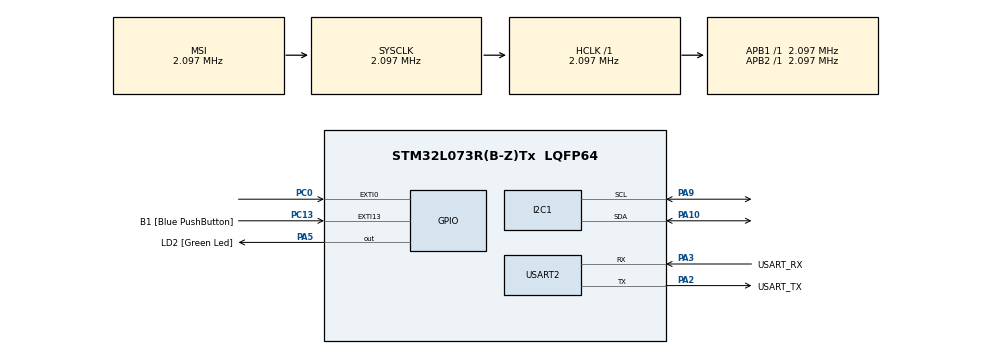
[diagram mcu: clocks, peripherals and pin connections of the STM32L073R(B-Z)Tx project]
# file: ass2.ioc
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I2C1.Timing=0x00000608
Mcu.Family=STM32L0
Mcu.Name=STM32L073R(B-Z)Tx
Mcu.Package=LQFP64
NVIC.EXTI0_1_IRQn=true\:0\:0\:false\:false\:true\:true\:true\:true
PA10.Mode=I2C
PA10.Signal=I2C1_SDA
PA13.GPIO_Label=TMS
PA13.Mode=Serial_Wire
PA13.Signal=SYS_SWDIO
PA14.GPIO_Label=TCK
PA14.Mode=Serial_Wire
PA14.Signal=SYS_SWCLK
PA2.GPIO_Label=USART_TX
PA2.Mode=Asynchronous
PA2.Signal=USART2_TX
PA3.GPIO_Label=USART_RX
PA3.Mode=Asynchronous
PA3.Signal=USART2_RX
PA5.GPIO_Label=LD2 [Green Led]
PA5.Signal=GPIO_Output
PA9.Mode=I2C
PA9.Signal=I2C1_SCL
PC0.GPIO_ModeDefaultEXTI=GPIO_MODE_IT_FALLING
PC0.GPIO_PuPd=GPIO_NOPULL
PC0.Signal=GPXTI0
PC13.GPIO_Label=B1 [Blue PushButton]
PC13.GPIO_ModeDefaultEXTI=GPIO_MODE_IT_FALLING
PC13.Signal=GPXTI13
PC14-OSC32_IN.Mode=LSE-External-Oscillator
PC14-OSC32_IN.Signal=RCC_OSC32_IN
PC15-OSC32_OUT.Mode=LSE-External-Oscillator
PC15-OSC32_OUT.Signal=RCC_OSC32_OUT
PH0-OSC_IN.GPIO_Label=MCO
PH0-OSC_IN.Mode=HSE-External-Clock-Source
PH0-OSC_IN.Signal=RCC_OSC_IN
ProjectManager.HeapSize=0x200
ProjectManager.StackSize=0x400
ProjectManager.TargetToolchain=STM32CubeIDE
RCC.AHBFreq_Value=2097000
RCC.APB1Freq_Value=2097000
RCC.APB1TimFreq_Value=2097000
RCC.APB2Freq_Value=2097000
RCC.APB2TimFreq_Value=2097000
RCC.HSE_VALUE=8000000
RCC.HSI16_VALUE=16000000
RCC.HSI48_VALUE=48000000
RCC.HSI_VALUE=16000000
RCC.MSI_VALUE=2097000
RCC.SYSCLKFreq_VALUE=2097000
RCC.VCOOutputFreq_Value=48000000
USART2.VirtualMode-Asynchronous=VM_ASYNC
board=NUCLEO-L073RZ

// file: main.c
/* USER CODE BEGIN Header */
/**
  ******************************************************************************
  * @file           : main.c
  * @brief          : Main program body
  ******************************************************************************
  * @attention
  *
  * Copyright (c) 2024 STMicroelectronics.
  * All rights reserved.
  *
  * This software is licensed under terms that can be found in the LICENSE file
  * in the root directory of this software component.
  * If no LICENSE file comes with this software, it is provided AS-IS.
  *
  ******************************************************************************
  */
/* USER CODE END Header */
#include "main.h"

/* USER CODE BEGIN Includes */
#include "stdio.h"
#include "max30102_for_stm32_hal.h"
#include "max_processing.h"
/* USER CODE END Includes */

I2C_HandleTypeDef hi2c1;

UART_HandleTypeDef huart2;

/* USER CODE BEGIN PV */

// printf() function
int __io_putchar(int ch)
{
  uint8_t temp = ch;
  HAL_UART_Transmit(&huart2, &temp, 1, HAL_MAX_DELAY);
  return ch;
}

// MAX30102 object
max30102_t max30102;

/* USER CODE END PV */

void SystemClock_Config(void);
static void MX_GPIO_Init(void);
static void MX_USART2_UART_Init(void);
static void MX_I2C1_Init(void);

int main(void)
{

  /* MCU Configuration--------------------------------------------------------*/

  /* Reset of all peripherals, Initializes the Flash interface and the Systick. */
  HAL_Init();

  /* Configure the system clock */
  SystemClock_Config();

  /* Initialize all configured peripherals */
  MX_GPIO_Init();
  MX_USART2_UART_Init();
  MX_I2C1_Init();
  /* USER CODE BEGIN 2 */
  // Initiation
	max30102_init(&max30102, &hi2c1);
	max30102_reset(&max30102);
	max30102_clear_fifo(&max30102);
	max30102_set_fifo_config(&max30102, max30102_smp_ave_8, 1, 7);

	// Sensor settings
	max30102_set_led_pulse_width(&max30102, max30102_pw_16_bit);
	max30102_set_adc_resolution(&max30102, max30102_adc_2048);
	max30102_set_sampling_rate(&max30102, max30102_sr_800);
	max30102_set_led_current_1(&max30102, 6.2);
	max30102_set_led_current_2(&max30102, 6.2);

	// Enter SpO2 mode
	max30102_set_mode(&max30102, max30102_spo2);
	max30102_set_a_full(&max30102, 1);

	// Initiate 1 temperature measurement
	max30102_set_die_temp_en(&max30102, 1);
	max30102_set_die_temp_rdy(&max30102, 1);

	uint8_t en_reg[2] = {0};
	max30102_read(&max30102, 0x00, en_reg, 1);
  initialize_filters_1();
  initialize_filters_2();

  /* USER CODE END 2 */

  /* Infinite loop */
  while (1)
  {

    /* USER CODE BEGIN 3 */

	  // init
	  Max30102Samples samples = max30102_read_fifo(&max30102);
	  uint32_t latest_red_value = samples.red_sample;
	  uint32_t latest_ir_value = samples.ir_sample;
//
//	  // Part 1
//	  char buffer1[100];
//	  int len = sprintf(buffer1, "IR Sample: %d, Red Sample: %d\r\n",
//			  latest_red_value,
//			  latest_ir_value);
//	  HAL_UART_Transmit(&huart2, (uint8_t *)buffer1, len, HAL_MAX_DELAY);

	  //Part 2.1
	  calculate_heart_rate(latest_red_value);

//	  // Part 2.2
//	  advanced_heartbeat_detection(latest_red_value);

//	  // Part 2.3
//	  calculate_spo2(latest_red_value,latest_ir_value);

//
//	  // Part 3: Interrupt
//	  if (max30102_has_interrupt(&max30102))
//		  // Run interrupt handler to read FIFO
//		  max30102_interrupt_handler(&max30102);
  }
  /* USER CODE END 3 */
}

void SystemClock_Config(void)
{
  RCC_OscInitTypeDef RCC_OscInitStruct = {0};
  RCC_ClkInitTypeDef RCC_ClkInitStruct = {0};
  RCC_PeriphCLKInitTypeDef PeriphClkInit = {0};

  /** Configure the main internal regulator output voltage
  */
  __HAL_PWR_VOLTAGESCALING_CONFIG(PWR_REGULATOR_VOLTAGE_SCALE1);

  /** Initializes the RCC Oscillators according to the specified parameters
  * in the RCC_OscInitTypeDef structure.
  */
  RCC_OscInitStruct.OscillatorType = RCC_OSCILLATORTYPE_MSI;
  RCC_OscInitStruct.MSIState = RCC_MSI_ON;
  RCC_OscInitStruct.MSICalibrationValue = 0;
  RCC_OscInitStruct.MSIClockRange = RCC_MSIRANGE_5;
  RCC_OscInitStruct.PLL.PLLState = RCC_PLL_NONE;
  if (HAL_RCC_OscConfig(&RCC_OscInitStruct) != HAL_OK)
  {
    Error_Handler();
  }

  /** Initializes the CPU, AHB and APB buses clocks
  */
  RCC_ClkInitStruct.ClockType = RCC_CLOCKTYPE_HCLK|RCC_CLOCKTYPE_SYSCLK
                              |RCC_CLOCKTYPE_PCLK1|RCC_CLOCKTYPE_PCLK2;
  RCC_ClkInitStruct.SYSCLKSource = RCC_SYSCLKSOURCE_MSI;
  RCC_ClkInitStruct.AHBCLKDivider = RCC_SYSCLK_DIV1;
  RCC_ClkInitStruct.APB1CLKDivider = RCC_HCLK_DIV1;
  RCC_ClkInitStruct.APB2CLKDivider = RCC_HCLK_DIV1;

  if (HAL_RCC_ClockConfig(&RCC_ClkInitStruct, FLASH_LATENCY_0) != HAL_OK)
  {
    Error_Handler();
  }
  PeriphClkInit.PeriphClockSelection = RCC_PERIPHCLK_USART2|RCC_PERIPHCLK_I2C1;
  PeriphClkInit.Usart2ClockSelection = RCC_USART2CLKSOURCE_PCLK1;
  PeriphClkInit.I2c1ClockSelection = RCC_I2C1CLKSOURCE_PCLK1;
  if (HAL_RCCEx_PeriphCLKConfig(&PeriphClkInit) != HAL_OK)
  {
    Error_Handler();
  }
}

static void MX_I2C1_Init(void)
{

  hi2c1.Instance = I2C1;
  hi2c1.Init.Timing = 0x00000608;
  hi2c1.Init.OwnAddress1 = 0;
  hi2c1.Init.AddressingMode = I2C_ADDRESSINGMODE_7BIT;
  hi2c1.Init.DualAddressMode = I2C_DUALADDRESS_DISABLE;
  hi2c1.Init.OwnAddress2 = 0;
  hi2c1.Init.OwnAddress2Masks = I2C_OA2_NOMASK;
  hi2c1.Init.GeneralCallMode = I2C_GENERALCALL_DISABLE;
  hi2c1.Init.NoStretchMode = I2C_NOSTRETCH_DISABLE;
  if (HAL_I2C_Init(&hi2c1) != HAL_OK)
  {
    Error_Handler();
  }

  /** Configure Analogue filter
  */
  if (HAL_I2CEx_ConfigAnalogFilter(&hi2c1, I2C_ANALOGFILTER_ENABLE) != HAL_OK)
  {
    Error_Handler();
  }

  /** Configure Digital filter
  */
  if (HAL_I2CEx_ConfigDigitalFilter(&hi2c1, 0) != HAL_OK)
  {
    Error_Handler();
  }

}

static void MX_USART2_UART_Init(void)
{

  huart2.Instance = USART2;
  huart2.Init.BaudRate = 115200;
  huart2.Init.WordLength = UART_WORDLENGTH_8B;
  huart2.Init.StopBits = UART_STOPBITS_1;
  huart2.Init.Parity = UART_PARITY_NONE;
  huart2.Init.Mode = UART_MODE_TX_RX;
  huart2.Init.HwFlowCtl = UART_HWCONTROL_NONE;
  huart2.Init.OverSampling = UART_OVERSAMPLING_16;
  huart2.Init.OneBitSampling = UART_ONE_BIT_SAMPLE_DISABLE;
  huart2.AdvancedInit.AdvFeatureInit = UART_ADVFEATURE_NO_INIT;
  if (HAL_UART_Init(&huart2) != HAL_OK)
  {
    Error_Handler();
  }

}

static void MX_GPIO_Init(void)
{
  GPIO_InitTypeDef GPIO_InitStruct = {0};

  /* GPIO Ports Clock Enable */
  __HAL_RCC_GPIOC_CLK_ENABLE();
  __HAL_RCC_GPIOH_CLK_ENABLE();
  __HAL_RCC_GPIOA_CLK_ENABLE();

  /*Configure GPIO pin Output Level */
  HAL_GPIO_WritePin(LD2_GPIO_Port, LD2_Pin, GPIO_PIN_RESET);

  /*Configure GPIO pins : B1_Pin PC0 */
  GPIO_InitStruct.Pin = B1_Pin|GPIO_PIN_0;
  GPIO_InitStruct.Mode = GPIO_MODE_IT_FALLING;
  GPIO_InitStruct.Pull = GPIO_NOPULL;
  HAL_GPIO_Init(GPIOC, &GPIO_InitStruct);

  /*Configure GPIO pin : LD2_Pin */
  GPIO_InitStruct.Pin = LD2_Pin;
  GPIO_InitStruct.Mode = GPIO_MODE_OUTPUT_PP;
  GPIO_InitStruct.Pull = GPIO_NOPULL;
  GPIO_InitStruct.Speed = GPIO_SPEED_FREQ_LOW;
  HAL_GPIO_Init(LD2_GPIO_Port, &GPIO_InitStruct);

  /* EXTI interrupt init*/
  HAL_NVIC_SetPriority(EXTI0_1_IRQn, 0, 0);
  HAL_NVIC_EnableIRQ(EXTI0_1_IRQn);

}

void Error_Handler(void)
{
  __disable_irq();
  while (1)
  {
  }
}
